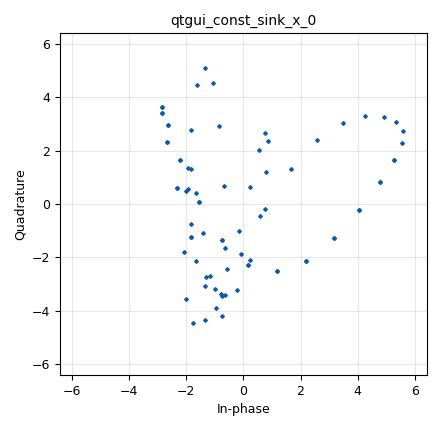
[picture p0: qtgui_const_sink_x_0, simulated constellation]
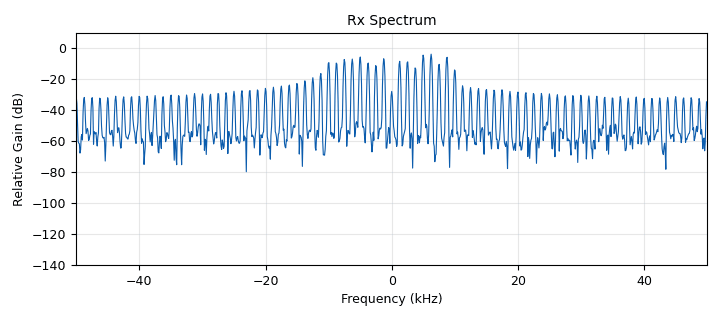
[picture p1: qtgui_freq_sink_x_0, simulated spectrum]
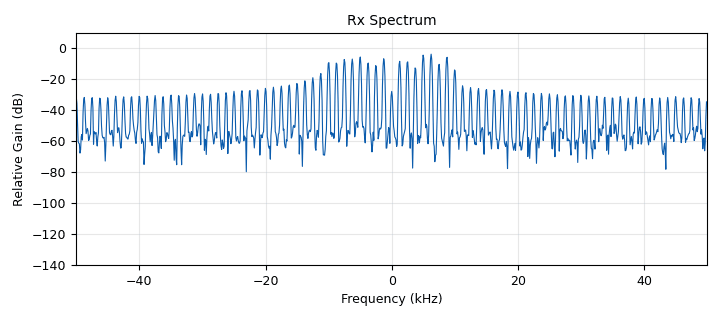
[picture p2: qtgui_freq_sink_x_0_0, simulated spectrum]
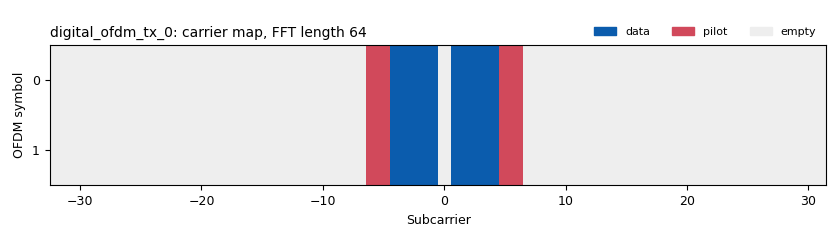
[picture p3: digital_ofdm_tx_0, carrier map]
options:
  parameters:
    description: Transport packets.
    generate_options: qt_gui
    id: OFDM_Receiver
    output_language: python
    title: OFDM Loopback Example
  states: {}

blocks:
- name: fft_len
  id: variable
  parameters:
    value: '64'
  states: {}
- name: freq_offset
  id: variable_qtgui_range
  parameters:
    label: Frequency inner spacing)
    outputmsgname: value
    showports: 'False'
    start: '-3'
    step: '0.01'
    stop: '3'
    value: '0'
    widget: slider
  states: {}
- name: len_tag_key
  id: variable
  parameters:
    value: packet_len
  states: {}
- name: noise_voltage
  id: variable_qtgui_range
  parameters:
    label: Noise Amplitude
    outputmsgname: value
    showports: 'False'
    start: '0'
    step: '0.01'
    stop: '1'
    value: '0.1'
    widget: dial
  states: {}
- name: packet_len
  id: variable
  parameters:
    value: '96'
  states: {}
- name: samp_rate
  id: variable
  parameters:
    value: '100000'
  states: {}
- name: blocks_stream_to_tagged_stream_0
  id: blocks_stream_to_tagged_stream
  parameters:
    len_tag_key: '"packet_len"'
    packet_len: packet_len
    type: byte
  states: {}
- name: blocks_tag_debug_0
  id: blocks_tag_debug
  parameters:
    display: 'False'
    name: Rx Packets
    type: byte
  states: {}
- name: blocks_throttle_0
  id: blocks_throttle
  parameters:
    samples_per_second: samp_rate
    type: complex
  states: {}
- name: blocks_throttle_1
  id: blocks_throttle
  parameters:
    samples_per_second: samp_rate
    type: byte
  states: {}
- name: blocks_vector_source_x_0
  id: blocks_vector_source_x
  parameters:
    repeat: 'True'
    type: byte
    vector: (1, 0, 1)
  states: {}
- name: channels_channel_model_0
  id: channels_channel_model
  parameters:
    epsilon: '1.0'
    freq_offset: '0.0'
    noise_voltage: '0.1'
    seed: '0'
    taps: 1.0 + 1.0j
  states: {}
- name: digital_ofdm_rx_0
  id: digital_ofdm_rx
  parameters:
    cp_len: fft_len//4
    fft_len: fft_len
    header_mod: '"QPSK"'
    occupied_carriers: ((-4,-3,-2,-1,1,2,3,4),)
    packet_len_key: '"rx_len"'
    payload_mod: '"8-PSK"'
    pilot_carriers: ((-6,-5,5,6),)
    pilot_symbols: ((1,-1,1,-1),)
    sync_word1: None
    sync_word2: None
  states: {}
- name: digital_ofdm_tx_0
  id: digital_ofdm_tx
  parameters:
    cp_len: fft_len//4
    fft_len: fft_len
    header_mod: '"QPSK"'
    occupied_carriers: ((-4,-3,-2,-1,1,2,3,4),)
    packet_len_key: packet_len
    payload_mod: '"8-PSK"'
    pilot_carriers: ((-6,-5,5,6),)
    pilot_symbols: ((1,-1,1,-1),)
    rolloff: '0'
    sync_word1: None
    sync_word2: None
  states: {}
- name: qtgui_const_sink_x_0
  id: qtgui_const_sink_x
  parameters:
    autoscale: 'True'
    size: '1024'
    type: complex
  states: {}
- name: qtgui_freq_sink_x_0
  id: qtgui_freq_sink_x
  parameters:
    bw: samp_rate
    fc: '0'
    fftsize: '1024'
    name: '"Rx Spectrum"'
    type: complex
  states: {}
- name: qtgui_freq_sink_x_0_0
  id: qtgui_freq_sink_x
  parameters:
    bw: samp_rate
    fc: '0'
    fftsize: '1024'
    name: '"Rx Spectrum"'
    type: complex
  states: {}

connections:
- [blocks_stream_to_tagged_stream_0, '0', digital_ofdm_tx_0, '0']
- [blocks_throttle_0, '0', digital_ofdm_rx_0, '0']
- [blocks_throttle_0, '0', qtgui_freq_sink_x_0, '0']
- [blocks_throttle_1, '0', blocks_stream_to_tagged_stream_0, '0']
- [blocks_vector_source_x_0, '0', blocks_throttle_1, '0']
- [channels_channel_model_0, '0', blocks_throttle_0, '0']
- [channels_channel_model_0, '0', qtgui_freq_sink_x_0_0, '0']
- [digital_ofdm_rx_0, '0', blocks_tag_debug_0, '0']
- [digital_ofdm_tx_0, '0', channels_channel_model_0, '0']
- [digital_ofdm_tx_0, '0', qtgui_const_sink_x_0, '0']

metadata:
  file_format: 1
  grc_version: 3.10.4.0
